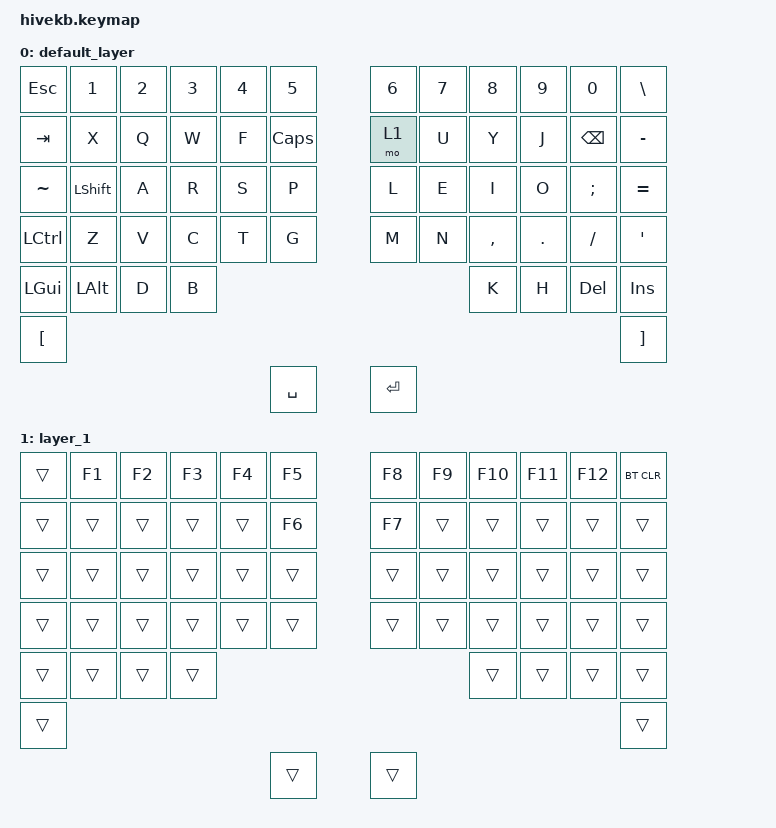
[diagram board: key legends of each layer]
#include <behaviors.dtsi>
#include <dt-bindings/zmk/bt.h>
#include <dt-bindings/zmk/keys.h>

/ {
    keymap {
        compatible = "zmk,keymap";

        default_layer {
            bindings = <
&kp ESC               &kp N1            &kp N2               &kp N3           &kp N4         &kp N5                           &kp N6            &kp N7             &kp N8            &kp N9                  &kp N0                    &kp BACKSLASH
           &kp TAB               &kp X                &kp Q            &kp W          &kp F             &kp CAPS    &mo 1                &kp U          &kp Y               &kp J             &kp BACKSPACE                 &kp MINUS
&kp TILDE             &kp LSHFT         &kp A                &kp R            &kp S          &kp P                            &kp L             &kp E              &kp I             &kp O                   &kp SEMICOLON             &kp EQUAL
           &kp LCTRL             &kp Z                &kp V            &kp C          &kp T             &kp G       &kp M                &kp N          &kp COMMA           &kp DOT           &kp SLASH                     &kp SQT
                                        &kp LEFT_GUI         &kp LALT         &kp D          &kp B                            &kp K             &kp H              &kp DEL           &kp INS
                                                                                                        &kp LBKT    &kp RBKT
                                                                                             &kp SPACE                        &kp ENTER
            >;
        };

        layer_1 {
            bindings = <
&trans          &kp F1          &kp F2          &kp F3          &kp F4          &kp F5                    &kp F8          &kp F9          &kp F10          &kp F11          &kp F12          &bt BT_CLR
        &trans          &trans          &trans          &trans          &trans          &kp F6    &kp F7          &trans          &trans           &trans           &trans           &trans
&trans          &trans          &trans          &trans          &trans          &trans                    &trans          &trans          &trans           &trans           &trans           &trans
        &trans          &trans          &trans          &trans          &trans          &trans    &trans          &trans          &trans           &trans           &trans           &trans
                                &trans          &trans          &trans          &trans                    &trans          &trans          &trans           &trans
                                                                                        &trans    &trans
                                                                                &trans                    &trans
            >;
        };
    };
};
